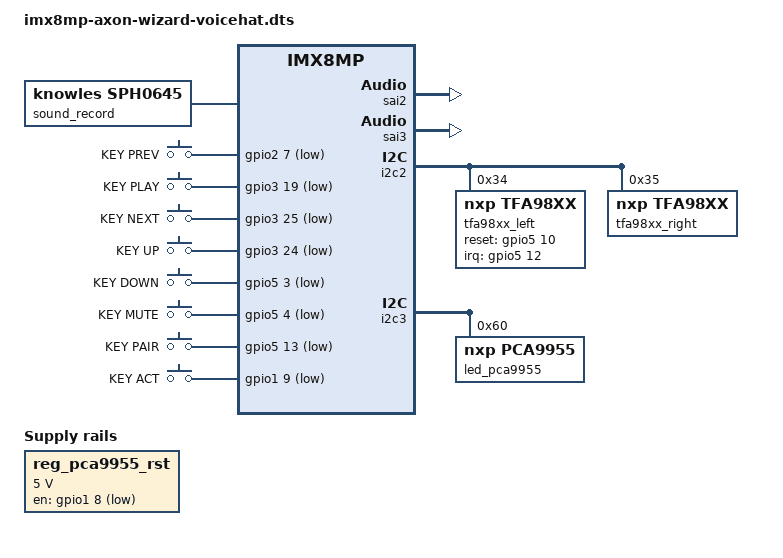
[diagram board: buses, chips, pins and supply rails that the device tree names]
// SPDX-License-Identifier: (GPL-2.0+ OR MIT)
/*
 * Copyright 2020 Technexion Ltd.
 *
 * Author: Ray Chang <ray.chang@technexion.com>
 *
 */

#include <dt-bindings/input/input.h>
#include "imx8mp-axon-wizard.dts"

/ {
	aliases {
		i2c1 = &i2c2;
	};

	reg_pca9955_rst: pca9955_rst {
		pinctrl-names = "default";
		pinctrl-0 = <&pinctrl_pca9955>;
		compatible = "regulator-fixed";
		regulator-name = "pca9955_rst";
		regulator-min-microvolt = <5000000>;
		regulator-max-microvolt = <5000000>;
		gpio = <&gpio1 8 GPIO_ACTIVE_LOW>;
		enable-active-low;
	};

	sound-wm8960 {
		status = "disabled";
	};

	sound-tfa9912 {
		compatible = "nxp,imx-audio-tfa98xx", "nxp,imx-tfa98xx";
		nxp,model = "TFA9912";
		cpu-dai = <&sai3>;
		ssi-controller = <&sai3>;
		nxp,audio-codec = <&tfa98xx_left &tfa98xx_right>;
		clocks = <&clk IMX8MP_CLK_AUDIO_BLK_CTRL_SAI3_MCLK1>;
		nxp,audio-routing =
			"Speaker", "OUTL",
			"DMIC1", "Mic",
			"DMIC2", "Mic",
			"DMIC3", "Mic",
			"DMIC4", "Mic";
	};

	sound-sph0645 {
		compatible = "nxp,imx-audio-sph0645", "nxp,imx-sph0645";
		nxp,model = "SPH0645";
		cpu-dai = <&sai2>;
		ssi-controller = <&sai2>;
		nxp,audio-codec = <&sound_record>;
		clocks = <&clk IMX8MP_CLK_AUDIO_BLK_CTRL_SAI2_MCLK1>;
	};

	sound_record: codec {
		compatible = "knowles,sph0645";
	};

	gpio_keys {
		compatible = "gpio-keys";
		pinctrl-names = "default";
		pinctrl-0 = <&pinctrl_gpio_key_voicehat &pinctrl_gpio_key_user1>;

		prev {
			gpios = <&gpio2 7 GPIO_ACTIVE_LOW>;
			label = "KEY PREV";
			linux,code = <KEY_PREVIOUS>;
		};

		play {
			gpios = <&gpio3 19 GPIO_ACTIVE_LOW>;
			label = "KEY PLAY";
			linux,code = <KEY_PLAY>;
		};

		next {
			gpios = <&gpio3 25 GPIO_ACTIVE_LOW>;
			label = "KEY NEXT";
			linux,code = <KEY_NEXT>;
		};

		up {
			gpios = <&gpio3 24 GPIO_ACTIVE_LOW>;
			label = "KEY UP";
			linux,code = <KEY_UP>;
		};

		down {
			gpios = <&gpio5 3 GPIO_ACTIVE_LOW>;
			label = "KEY DOWN";
			linux,code = <KEY_DOWN>;
		};

		mute {
			gpios = <&gpio5 4 GPIO_ACTIVE_LOW>;
			label = "KEY MUTE";
			linux,code = <KEY_MUTE>;
		};

		pair {
			gpios = <&gpio5 13 GPIO_ACTIVE_LOW>;
			label = "KEY PAIR";
			linux,code = <KEY_SELECT>;
		};

		act {
			gpios = <&gpio1 9 GPIO_ACTIVE_LOW>;
			label = "KEY ACT";
			linux,code = <KEY_OK>;
		};
	};
};

&flexcan1 {
	status = "disabled";
};

&flexcan2 {
	status = "disabled";
};

&ecspi2 {
	status = "disabled";
};

&pwm4 {
	status = "disabled";
};

&sai2 {
	status = "okay";
};

&sai3 {
	status = "okay";
};

&i2c2 {
	tfa98xx_left: tfa98xx_left@34 {
		compatible = "nxp,tfa98xx";
		pinctrl-names = "default";
		pinctrl-0 = <&pinctrl_tfa98xx>;
		reg = <0x34>;
		reset-gpio = <&gpio5 10 GPIO_ACTIVE_HIGH>;
		irq-gpio = <&gpio5 12 GPIO_ACTIVE_HIGH>;
	};

	tfa98xx_right: tfa98xx_right@35 {
		compatible = "nxp,tfa98xx";
		reg = <0x35>;
	};
};

&i2c3 {
	/* PCA9955 - 16-bit RGB LED */
	led_pca9955: pca9955@60 {
		#address-cells = <1>;
		#size-cells = <0>;
		compatible = "nxp,pca9955";
		reg = <0x60>;

		led0 {
			label = "blue0";
			linux,default-trigger = "none";
			reg = <0>;
		};

		led1 {
			label = "green0";
			linux,default-trigger = "none";
			reg = <1>;
		};

		led2 {
			label = "red0";
			linux,default-trigger = "none";
			reg = <2>;
		};

		led3 {
			label = "blue1";
			linux,default-trigger = "none";
			reg = <3>;
		};

		led4 {
			label = "green1";
			linux,default-trigger = "none";
			reg = <4>;
		};

		led5 {
			label = "red1";
			linux,default-trigger = "none";
			reg = <5>;
		};

		led6 {
			label = "blue2";
			linux,default-trigger = "none";
			reg = <6>;
		};

		led7 {
			label = "green2";
			linux,default-trigger = "none";
			reg = <7>;
		};

		led8 {
			label = "red2";
			linux,default-trigger = "none";
			reg = <8>;
		};

		led9 {
			label = "blue3";
			linux,default-trigger = "none";
			reg = <9>;
		};

		led10 {
			label = "green3";
			linux,default-trigger = "none";
			reg = <10>;
		};

		led11 {
			label = "red3";
			linux,default-trigger = "none";
			reg = <11>;
		};

		led12 {
			label = "blue4";
			linux,default-trigger = "none";
			reg = <12>;
		};

		led13 {
			label = "green4";
			linux,default-trigger = "none";
			reg = <13>;
		};

		led14 {
			label = "red4";
			linux,default-trigger = "none";
			reg = <14>;
		};

		led15 {
			label = "blue5";
			linux,default-trigger = "none";
			reg = <15>;
		};
	};
};
